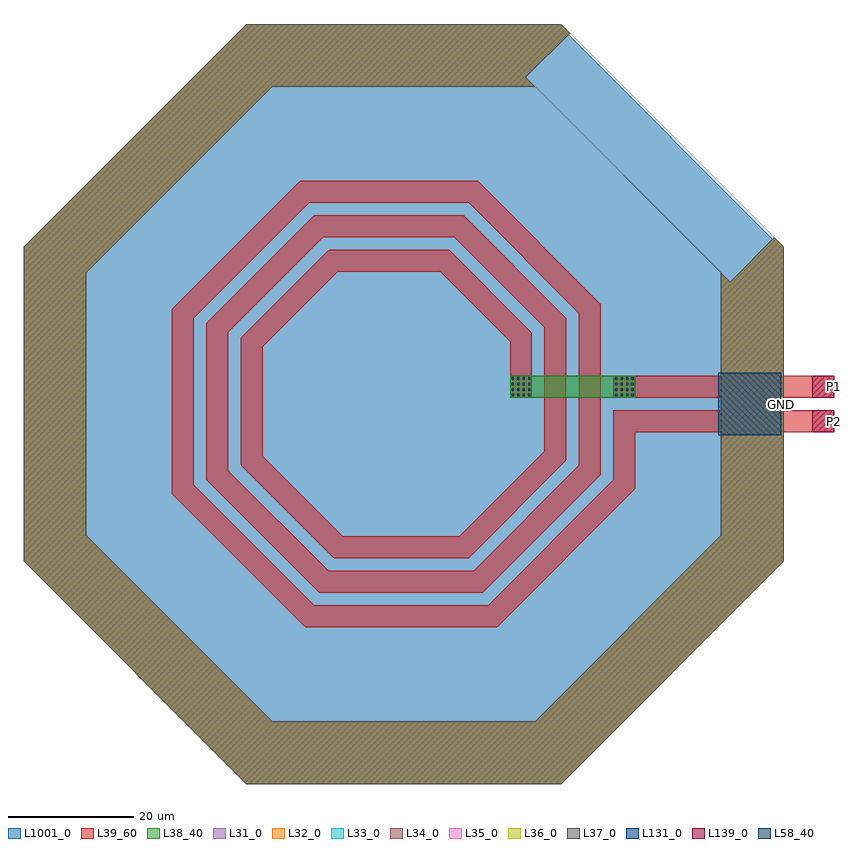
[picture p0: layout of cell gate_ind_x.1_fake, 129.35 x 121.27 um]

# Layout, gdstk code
import gdstk
lib = gdstk.Library(unit=1e-6, precision=1e-09)
def R(c, l, rs):  # rectangles x0, y0, x1, y1
    for r in rs: c.add(gdstk.rectangle(r[:2], r[2:], *l))
def A(c, l, x, y, w, h, nx, ny, dx, dy):  # array of equal rectangles
    R(c, l, [(x+i*dx, y+j*dy, x+i*dx+w, y+j*dy+h) for i in range(nx) for j in range(ny)])
def P(c, l, *ps):  # polygons
    for p in ps: c.add(gdstk.Polygon(p, *l))
L31_0 = (31, 0)
L32_0 = (32, 0)
L33_0 = (33, 0)
L34_0 = (34, 0)
L35_0 = (35, 0)
L36_0 = (36, 0)
L37_0 = (37, 0)
L38_40 = (38, 40)
L39_60 = (39, 60)
L58_40 = (58, 40)
L131_0 = (131, 0)
L139_0 = (139, 0)
L1001_0 = (1001, 0)

gate_ind_x_1_fake = lib.new_cell('gate_ind_x.1_fake')
P(gate_ind_x_1_fake, L31_0, [(52.1,19.509),(59.171,26.58),(25.116,60.635),(-25.116,60.635),(-60.635,25.116),(-60.635,-25.116),(-25.116,-60.635),(25.116,-60.635),(60.635,-25.116),(60.635,25.116),(26.58,59.171),(19.509,52.1),(50.635,20.974),(50.635,-20.974),(20.974,-50.635),(-20.974,-50.635),(-50.635,-20.974),(-50.635,20.974),(-20.974,50.635),(20.974,50.635)])
P(gate_ind_x_1_fake, L32_0, [(52.1,19.509),(59.171,26.58),(25.116,60.635),(-25.116,60.635),(-60.635,25.116),(-60.635,-25.116),(-25.116,-60.635),(25.116,-60.635),(60.635,-25.116),(60.635,25.116),(26.58,59.171),(19.509,52.1),(50.635,20.974),(50.635,-20.974),(20.974,-50.635),(-20.974,-50.635),(-50.635,-20.974),(-50.635,20.974),(-20.974,50.635),(20.974,50.635)])
P(gate_ind_x_1_fake, L33_0, [(52.1,19.509),(59.171,26.58),(25.116,60.635),(-25.116,60.635),(-60.635,25.116),(-60.635,-25.116),(-25.116,-60.635),(25.116,-60.635),(60.635,-25.116),(60.635,25.116),(26.58,59.171),(19.509,52.1),(50.635,20.974),(50.635,-20.974),(20.974,-50.635),(-20.974,-50.635),(-50.635,-20.974),(-50.635,20.974),(-20.974,50.635),(20.974,50.635)])
P(gate_ind_x_1_fake, L34_0, [(52.1,19.509),(59.171,26.58),(25.116,60.635),(-25.116,60.635),(-60.635,25.116),(-60.635,-25.116),(-25.116,-60.635),(25.116,-60.635),(60.635,-25.116),(60.635,25.116),(26.58,59.171),(19.509,52.1),(50.635,20.974),(50.635,-20.974),(20.974,-50.635),(-20.974,-50.635),(-50.635,-20.974),(-50.635,20.974),(-20.974,50.635),(20.974,50.635)])
P(gate_ind_x_1_fake, L35_0, [(52.1,19.509),(59.171,26.58),(25.116,60.635),(-25.116,60.635),(-60.635,25.116),(-60.635,-25.116),(-25.116,-60.635),(25.116,-60.635),(60.635,-25.116),(60.635,25.116),(26.58,59.171),(19.509,52.1),(50.635,20.974),(50.635,-20.974),(20.974,-50.635),(-20.974,-50.635),(-50.635,-20.974),(-50.635,20.974),(-20.974,50.635),(20.974,50.635)])
P(gate_ind_x_1_fake, L36_0, [(52.1,19.509),(59.171,26.58),(25.116,60.635),(-25.116,60.635),(-60.635,25.116),(-60.635,-25.116),(-25.116,-60.635),(25.116,-60.635),(60.635,-25.116),(60.635,25.116),(26.58,59.171),(19.509,52.1),(50.635,20.974),(50.635,-20.974),(20.974,-50.635),(-20.974,-50.635),(-50.635,-20.974),(-50.635,20.974),(-20.974,50.635),(20.974,50.635)])
P(gate_ind_x_1_fake, L37_0, [(52.1,19.509),(59.171,26.58),(25.116,60.635),(-25.116,60.635),(-60.635,25.116),(-60.635,-25.116),(-25.116,-60.635),(25.116,-60.635),(60.635,-25.116),(60.635,25.116),(26.58,59.171),(19.509,52.1),(50.635,20.974),(50.635,-20.974),(20.974,-50.635),(-20.974,-50.635),(-50.635,-20.974),(-50.635,20.974),(-20.974,50.635),(20.974,50.635)])
R(gate_ind_x_1_fake, L38_40, [(16.97,1,36.97,4.5)])
P(gate_ind_x_1_fake, L38_40, [(52.1,19.509),(59.171,26.58),(25.116,60.635),(-25.116,60.635),(-60.635,25.116),(-60.635,-25.116),(-25.116,-60.635),(25.116,-60.635),(60.635,-25.116),(60.635,25.116),(26.58,59.171),(19.509,52.1),(50.635,20.974),(50.635,-20.974),(20.974,-50.635),(-20.974,-50.635),(-50.635,-20.974),(-50.635,20.974),(-20.974,50.635),(20.974,50.635)])
R(gate_ind_x_1_fake, L39_60, [(33.47,-4.5,68.72,-1), (33.47,1,68.72,4.5)])
P(gate_ind_x_1_fake, L39_60, [(16.97,1),(20.47,1),(20.47,11.395),(7.27,24.595),(-11.965,24.595),(-25.97,10.59),(-25.97,-9.785),(-11.16,-24.595),(10.355,-24.595),(25.97,-8.98),(25.97,13.675),(9.55,30.095),(-14.245,30.095),(-31.47,12.87),(-31.47,-12.065),(-13.44,-30.095),(12.63,-30.095),(31.47,-11.255),(31.47,15.95),(11.825,35.595),(-16.52,35.595),(-36.97,15.145),(-36.97,-14.34),(-15.715,-35.595),(14.91,-35.595),(36.97,-13.535),(36.97,-2.75),(33.47,-2.75),(33.47,-12.085),(13.46,-32.095),(-14.265,-32.095),(-33.47,-12.89),(-33.47,13.695),(-15.07,32.095),(10.375,32.095),(27.97,14.5),(27.97,-9.805),(11.18,-26.595),(-11.99,-26.595),(-27.97,-10.615),(-27.97,11.42),(-12.795,26.595),(8.1,26.595),(22.47,12.225),(22.47,-7.53),(8.905,-21.095),(-9.71,-21.095),(-22.47,-8.335),(-22.47,9.14),(-10.515,21.095),(5.82,21.095),(16.97,9.945)],
  [(52.1,19.509),(59.171,26.58),(25.116,60.635),(-25.116,60.635),(-60.635,25.116),(-60.635,-25.116),(-25.116,-60.635),(25.116,-60.635),(60.635,-25.116),(60.635,25.116),(26.58,59.171),(19.509,52.1),(50.635,20.974),(50.635,-20.974),(20.974,-50.635),(-20.974,-50.635),(-50.635,-20.974),(-50.635,20.974),(-20.974,50.635),(20.974,50.635)])
A(gate_ind_x_1_fake, L58_40, 17.239, 1.27, 0.35, 0.35, 4, 4, 0.87, 0.87)
A(gate_ind_x_1_fake, L58_40, 33.739, 1.27, 0.35, 0.35, 4, 4, 0.87, 0.87)
R(gate_ind_x_1_fake, L131_0, [(50.22,-5,60.22,5)])
R(gate_ind_x_1_fake, L139_0, [(65.22,-4.5,68.72,-1), (65.22,1,68.72,4.5)])
P(gate_ind_x_1_fake, L1001_0, [(60.255,24.958),(24.958,60.255),(-24.958,60.255),(-60.255,24.958),(-60.255,-24.958),(-24.958,-60.255),(24.958,-60.255),(60.255,-24.958)],
  [(60.255,24.958),(24.958,60.255),(-24.958,60.255),(-60.255,24.958),(-60.255,-24.958),(-24.958,-60.255),(24.958,-60.255),(60.255,-24.958)],
  [(60.255,24.958),(24.958,60.255),(-24.958,60.255),(-60.255,24.958),(-60.255,-24.958),(-24.958,-60.255),(24.958,-60.255),(60.255,-24.958)],
  [(60.255,24.958),(24.958,60.255),(-24.958,60.255),(-60.255,24.958),(-60.255,-24.958),(-24.958,-60.255),(24.958,-60.255),(60.255,-24.958)],
  [(60.255,24.958),(24.958,60.255),(-24.958,60.255),(-60.255,24.958),(-60.255,-24.958),(-24.958,-60.255),(24.958,-60.255),(60.255,-24.958)],
  [(60.255,24.958),(24.958,60.255),(-24.958,60.255),(-60.255,24.958),(-60.255,-24.958),(-24.958,-60.255),(24.958,-60.255),(60.255,-24.958)],
  [(60.255,24.958),(24.958,60.255),(-24.958,60.255),(-60.255,24.958),(-60.255,-24.958),(-24.958,-60.255),(24.958,-60.255),(60.255,-24.958)],
  [(60.255,24.958),(24.958,60.255),(-24.958,60.255),(-60.255,24.958),(-60.255,-24.958),(-24.958,-60.255),(24.958,-60.255),(60.255,-24.958)],
  [(60.255,24.958),(24.958,60.255),(-24.958,60.255),(-60.255,24.958),(-60.255,-24.958),(-24.958,-60.255),(24.958,-60.255),(60.255,-24.958)])
gate_ind_x_1_fake.add(gdstk.Label('P1', (68.719,2.75), layer=139, texttype=0))
gate_ind_x_1_fake.add(gdstk.Label('P2', (68.719,-2.75), layer=139, texttype=0))
gate_ind_x_1_fake.add(gdstk.Label('GND', (60.219,0), layer=131, texttype=0))

lib.write_gds('gate_ind_x.1_fake.gds')
